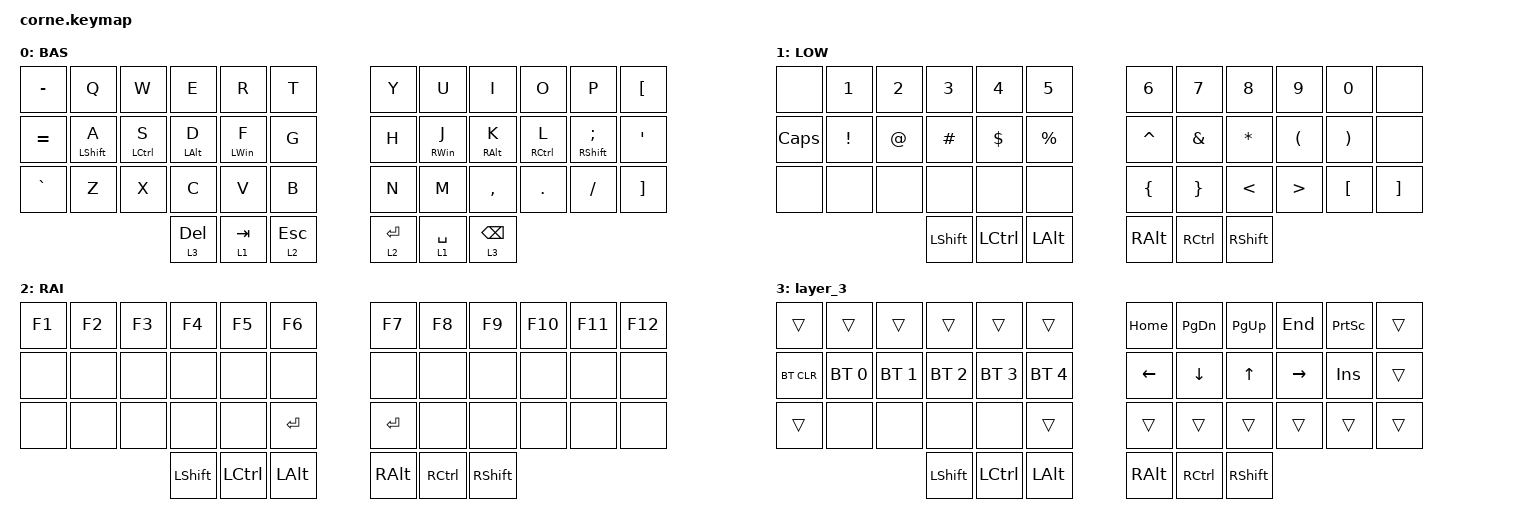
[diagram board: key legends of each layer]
/*
 * Copyright (c) 2020 The ZMK Contributors
 *
 * SPDX-License-Identifier: MIT
 */

#include <dt-bindings/led/led.h>
#include <dt-bindings/zmk/reset.h>
#include <behaviors.dtsi>
#include <dt-bindings/zmk/bt.h>
#include <dt-bindings/zmk/keys.h>

&led_strip { chain-length = <27>; };

/ {
    behaviors {
        hrml: home_row_mods_left {
            compatible = "zmk,behavior-hold-tap";
            label = "HRML";
            bindings = <&kp>, <&kp>;

            #binding-cells = <2>;
            tapping-term-ms = <200>;
            quick-tap-ms = <150>;
            flavor = "balanced";
        };

        hrmr: home_row_mods_right {
            compatible = "zmk,behavior-hold-tap";
            label = "HRMR";
            bindings = <&kp>, <&kp>;

            #binding-cells = <2>;
            tapping-term-ms = <200>;
            quick-tap-ms = <150>;
            flavor = "balanced";
        };

        lthp: layer_tap_hold_preferred {
            compatible = "zmk,behavior-hold-tap";
            label = "LTHP";
            bindings = <&mo>, <&kp>;

            #binding-cells = <2>;
            tapping-term-ms = <300>;
            quick-tap-ms = <150>;
        };
    };

    keymap {
        compatible = "zmk,keymap";

        default_layer {
            display-name = "BAS";

            // -----------------------------------------------------------------------------------------
            // |  TAB |  Q  |  W  |  E  |  R  |  T  |   |  Y  |  U   |  I  |  O  |  P  | BKSP |
            // | CTRL |  A  |  S  |  D  |  F  |  G  |   |  H  |  J   |  K  |  L  |  ;  |  '   |
            // | SHFT |  Z  |  X  |  C  |  V  |  B  |   |  N  |  M   |  ,  |  .  |  /  | ESC  |
            //                    | GUI | LWR | SPC |   | ENT | RSE  | ALT |

            bindings = <
&kp MINUS  &kp Q           &kp W          &kp E           &kp R         &kp T          &kp Y          &kp U          &kp I              &kp O          &kp P              &kp LBKT
&kp EQUAL  &hrml LSHIFT A  &hrml LCTRL S  &hrml LALT D    &hrml LWIN F  &kp G          &kp H          &hrmr RWIN J   &hrmr RALT K       &hrmr RCTRL L  &hrmr RSHIFT SEMI  &kp SQT
&kp GRAVE  &kp Z           &kp X          &kp C           &kp V         &kp B          &kp N          &kp M          &kp COMMA          &kp DOT        &kp FSLH           &kp RBKT
                                          &lthp 3 DELETE  &lthp 1 TAB   &lthp 2 ESC    &lthp 2 ENTER  &lthp 1 SPACE  &lthp 3 BACKSPACE
            >;
        };

        lower_layer {
            display-name = "LOW";

            // -----------------------------------------------------------------------------------------
            // |  TAB |  1  |  2  |  3  |  4  |  5  |   |  6  |  7  |  8  |  9  |  0  | BKSP |
            // | BTCLR| BT1 | BT2 | BT3 | BT4 | BT5 |   | LFT | DWN |  UP | RGT |     |      |
            // | SHFT |     |     |     |     |     |   |     |     |     |     |     |      |
            //                    | GUI |     | SPC |   | ENT |     | ALT |

            bindings = <
&none     &kp N1           &kp N2       &kp N3      &kp N4      &kp N5          &kp NUMBER_6    &kp N7           &kp N8         &kp N9                &kp N0                 &none
&kp CAPS  &kp EXCLAMATION  &kp AT_SIGN  &kp POUND   &kp DOLLAR  &kp PERCENT     &kp CARET       &kp AMPERSAND    &kp ASTRK      &kp LEFT_PARENTHESIS  &kp RIGHT_PARENTHESIS  &none
&none     &none            &none        &none       &none       &none           &kp LEFT_BRACE  &kp RIGHT_BRACE  &kp LESS_THAN  &kp GREATER_THAN      &kp LBKT               &kp RBKT
                                        &kp LSHIFT  &kp LCTRL   &kp LEFT_ALT    &kp RIGHT_ALT   &kp RCTRL        &kp RSHIFT
            >;
        };

        raise_layer {
            display-name = "RAI";

            // -----------------------------------------------------------------------------------------
            // |  TAB |  !  |  @  |  #  |  $  |  %  |   |  ^  |  &  |  *  |  (  |  )  | BKSP |
            // | CTRL |     |     |     |     |     |   |  -  |  =  |  [  |  ]  |  \  |  `   |
            // | SHFT |     |     |     |     |     |   |  _  |  +  |  {  |  }  | "|" |  ~   |
            //                    | GUI |     | SPC |   | ENT |     | ALT |

            bindings = <
&kp F1  &kp F2  &kp F3  &kp F4      &kp F5     &kp F6          &kp F7         &kp F8     &kp F9      &kp F10  &kp F11  &kp F12
&none   &none   &none   &none       &none      &none           &none          &none      &none       &none    &none    &none
&none   &none   &none   &none       &none      &kp ENTER       &kp ENTER      &none      &none       &none    &none    &none
                        &kp LSHIFT  &kp LCTRL  &kp LEFT_ALT    &kp RIGHT_ALT  &kp RCTRL  &kp RSHIFT
            >;
        };

        layer_3 {
            bindings = <
&trans      &trans        &trans        &trans        &trans        &trans          &kp HOME       &kp PAGE_DOWN  &kp PAGE_UP  &kp END    &kp PRINTSCREEN  &trans
&bt BT_CLR  &bt BT_SEL 0  &bt BT_SEL 1  &bt BT_SEL 2  &bt BT_SEL 3  &bt BT_SEL 4    &kp LEFT       &kp DOWN       &kp UP       &kp RIGHT  &kp INSERT       &trans
&trans      &none         &none         &none         &none         &trans          &trans         &trans         &trans       &trans     &trans           &trans
                                        &kp LSHIFT    &kp LCTRL     &kp LEFT_ALT    &kp RIGHT_ALT  &kp RCTRL      &kp RSHIFT
            >;
        };
    };
};
